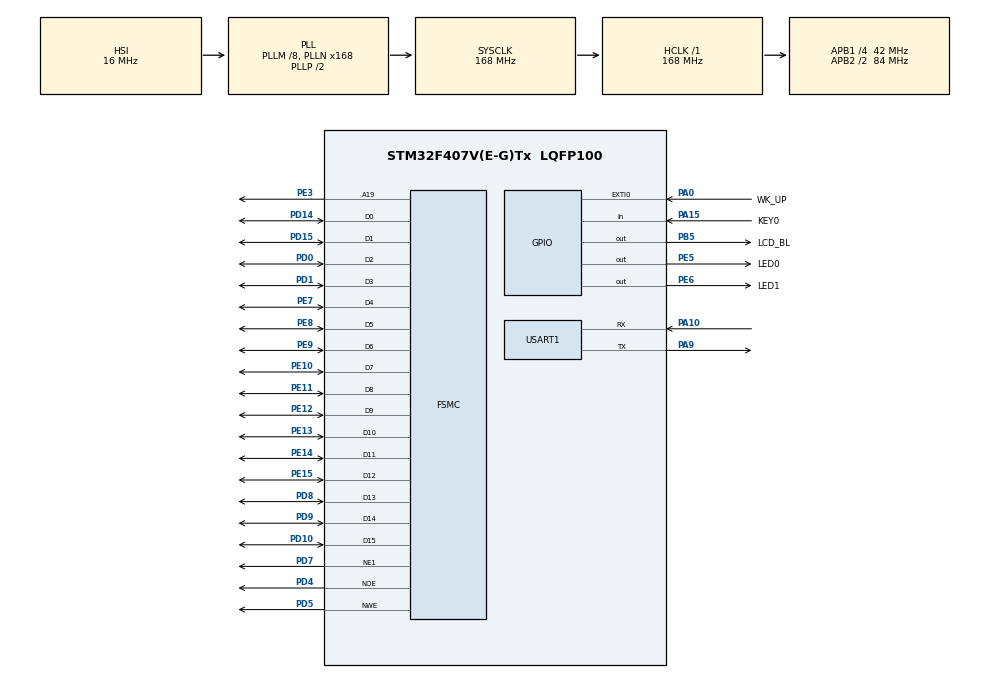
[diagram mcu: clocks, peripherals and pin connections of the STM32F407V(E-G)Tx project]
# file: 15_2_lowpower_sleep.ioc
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FSMC.AddressSetupTime1=15
FSMC.BusTurnAroundDuration1=0
FSMC.DataSetupTime1=60
FSMC.ExtendedAddressSetupTime1=9
FSMC.ExtendedDataSetupTime1=9
FSMC.ExtendedMode1=FSMC_EXTENDED_MODE_ENABLE
Mcu.Family=STM32F4
Mcu.Name=STM32F407V(E-G)Tx
Mcu.Package=LQFP100
NVIC.EXTI0_IRQn=true\:2\:2\:true\:false\:true\:true\:true\:true
NVIC.PriorityGroup=NVIC_PRIORITYGROUP_2
NVIC.USART1_IRQn=true\:2\:2\:true\:false\:true\:true\:true\:true
PA0-WKUP.GPIO_Label=WK_UP
PA0-WKUP.GPIO_PuPd=GPIO_PULLDOWN
PA0-WKUP.Signal=GPXTI0
PA10.Mode=Asynchronous
PA10.Signal=USART1_RX
PA13.Mode=Serial_Wire
PA13.Signal=SYS_JTMS-SWDIO
PA14.Mode=Serial_Wire
PA14.Signal=SYS_JTCK-SWCLK
PA15.GPIO_Label=KEY0
PA15.GPIO_PuPd=GPIO_PULLDOWN
PA15.Signal=GPIO_Input
PA9.Mode=Asynchronous
PA9.Signal=USART1_TX
PB5.GPIO_Label=LCD_BL
PB5.GPIO_PuPd=GPIO_PULLUP
PB5.GPIO_Speed=GPIO_SPEED_FREQ_HIGH
PB5.PinState=GPIO_PIN_SET
PB5.Signal=GPIO_Output
PC14-OSC32_IN.Mode=LSE-External-Oscillator
PC14-OSC32_IN.Signal=RCC_OSC32_IN
PC15-OSC32_OUT.Mode=LSE-External-Oscillator
PC15-OSC32_OUT.Signal=RCC_OSC32_OUT
PD0.Mode=16b-d1
PD0.Signal=FSMC_D2
PD1.Mode=16b-d1
PD1.Signal=FSMC_D3
PD10.Mode=16b-d1
PD10.Signal=FSMC_D15
PD14.Mode=16b-d1
PD14.Signal=FSMC_D0
PD15.Mode=16b-d1
PD15.Signal=FSMC_D1
PD4.Mode=Lcd1
PD4.Signal=FSMC_NOE
PD5.Mode=Lcd1
PD5.Signal=FSMC_NWE
PD7.Mode=NorPsramChipSelect1_1
PD7.Signal=FSMC_NE1
PD8.Mode=16b-d1
PD8.Signal=FSMC_D13
PD9.Mode=16b-d1
PD9.Signal=FSMC_D14
PE10.Mode=16b-d1
PE10.Signal=FSMC_D7
PE11.Mode=16b-d1
PE11.Signal=FSMC_D8
PE12.Mode=16b-d1
PE12.Signal=FSMC_D9
PE13.Mode=16b-d1
PE13.Signal=FSMC_D10
PE14.Mode=16b-d1
PE14.Signal=FSMC_D11
PE15.Mode=16b-d1
PE15.Signal=FSMC_D12
PE3.Mode=A19_1
PE3.Signal=FSMC_A19
PE5.GPIO_Label=LED0
PE5.GPIO_PuPd=GPIO_PULLUP
PE5.GPIO_Speed=GPIO_SPEED_FREQ_HIGH
PE5.PinState=GPIO_PIN_SET
PE5.Signal=GPIO_Output
PE6.GPIO_Label=LED1
PE6.GPIO_PuPd=GPIO_PULLUP
PE6.GPIO_Speed=GPIO_SPEED_FREQ_HIGH
PE6.PinState=GPIO_PIN_SET
PE6.Signal=GPIO_Output
PE7.Mode=16b-d1
PE7.Signal=FSMC_D4
PE8.Mode=16b-d1
PE8.Signal=FSMC_D5
PE9.Mode=16b-d1
PE9.Signal=FSMC_D6
PH0-OSC_IN.Mode=HSE-External-Oscillator
PH0-OSC_IN.Signal=RCC_OSC_IN
PH1-OSC_OUT.Mode=HSE-External-Oscillator
PH1-OSC_OUT.Signal=RCC_OSC_OUT
ProjectManager.HeapSize=0x200
ProjectManager.StackSize=0x400
ProjectManager.TargetToolchain=STM32CubeIDE
RCC.48MHZClocksFreq_Value=84000000
RCC.AHBFreq_Value=168000000
RCC.APB1CLKDivider=RCC_HCLK_DIV4
RCC.APB1Freq_Value=42000000
RCC.APB1TimFreq_Value=84000000
RCC.APB2CLKDivider=RCC_HCLK_DIV2
RCC.APB2Freq_Value=84000000
RCC.APB2TimFreq_Value=168000000
RCC.CortexFreq_Value=168000000
RCC.HCLKFreq_Value=168000000
RCC.HSE_VALUE=25000000
RCC.HSI_VALUE=16000000
RCC.PLLM=8
RCC.PLLN=168
RCC.SYSCLKFreq_VALUE=168000000
RCC.SYSCLKSource=RCC_SYSCLKSOURCE_PLLCLK
RCC.VCOOutputFreq_Value=336000000
USART1.VirtualMode=VM_ASYNC
board=custom

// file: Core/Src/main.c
/**
 ****************************************************************************************************
 * @file        main.c
 * @author      ALIENTEK
 * @brief       lowpower_sleep code
 * @license     Copyright (C) 2012-2024, ALIENTEK
 ****************************************************************************************************
 * @attention
 *
 * platform     : ALIENTEK M100-STM32F407 board
 * website      : www.alientek.com
 * forum        : www.openedv.com/forum.php
 *
 * change logs  :
 * version      data         notes
 * V1.0         20240409     the first version
 *
 ****************************************************************************************************
 */

/* USER CODE BEGIN Header */

/* USER CODE END Header */
#include "main.h"
#include "usart.h"
#include "gpio.h"
#include "fsmc.h"

/* USER CODE BEGIN Includes */
#include "../../BSP/LED/led.h"
#include "../../BSP/KEY/key.h"
#include "../../BSP/LCD/lcd.h"
#include "../../BSP/PWR/pwr.h"
/* USER CODE END Includes */

/* USER CODE BEGIN PD */
/**
 * @brief   Displays information about the experiment
 * @param   None
 * @retval  None
 */
void stm32f407vg_show_mesg(void)
{
	/* The serial port outputs the experimental information */
	printf("\n");
	printf("********************************\r\n");
	printf("STM32F407\r\n");
	printf("Lowpower-Sleep Test\r\n");
	printf("ATOM@ALIENTEK\r\n");
	printf("********************************\r\n");
	printf("\r\n");
}
/* USER CODE END PD */

void SystemClock_Config(void);

int main(void)
{
  /* USER CODE BEGIN 1 */
  uint8_t t = 0;
  uint8_t key = 0;
  /* USER CODE END 1 */

  /* MCU Configuration--------------------------------------------------------*/

  /* Reset of all peripherals, Initializes the Flash interface and the Systick. */
  HAL_Init();

  /* Configure the system clock */
  SystemClock_Config();

  /* Initialize all configured peripherals */
  MX_GPIO_Init();
  MX_USART1_UART_Init();
  MX_FSMC_Init();
  /* USER CODE BEGIN 2 */
  lcd_init();                                         /* Initialize LCD */
  stm32f407vg_show_mesg();
  lcd_show_string(30, 50, 200, 16, 16, "STM32", RED);
  lcd_show_string(30, 70, 200, 16, 16, "Sleep mode TEST", RED);
  lcd_show_string(30, 90, 200, 16, 16, "ATOM@ALIENTEK", RED);

  lcd_show_string(30, 110, 200, 16, 16, "KEY0:Enter SLEEP MODE", RED);
  lcd_show_string(30, 130, 200, 16, 16, "WK_UP:Exit SLEEP MODE", RED);
  /* USER CODE END 2 */

  /* Infinite loop */
  /* USER CODE BEGIN WHILE */
  while (1)
  {
	  key = key_scan(0);

	  if (key == KEY0_PRES)
	  {
	  	  lcd_show_string(30, 150, 200, 16, 16, "Enter Sleep Mode...", BLUE);
	  	  /* Press the KEY0 button to turn on LED1 and enter the sleep mode */
	  	  LED1(0);
	  	  pwr_enter_sleep();    /* Enter sleep mode */
	  	  lcd_show_string(30, 150, 200, 16, 16, "Exit  Sleep Mode...", BLUE);
	  	  LED1(1);
	  }
	  if ((t % 20) == 0)
	  {
	  	  LED0_TOGGLE();   /* flashing LED0 indicates that the system is running */
	  }

	  t++;
	  HAL_Delay(10);   	   /* delay 10ms */
    /* USER CODE END WHILE */

  }
}

void SystemClock_Config(void)
{
  RCC_OscInitTypeDef RCC_OscInitStruct = {0};
  RCC_ClkInitTypeDef RCC_ClkInitStruct = {0};

  /** Configure the main internal regulator output voltage
  */
  __HAL_RCC_PWR_CLK_ENABLE();
  __HAL_PWR_VOLTAGESCALING_CONFIG(PWR_REGULATOR_VOLTAGE_SCALE1);

  /** Initializes the RCC Oscillators according to the specified parameters
  * in the RCC_OscInitTypeDef structure.
  */
  RCC_OscInitStruct.OscillatorType = RCC_OSCILLATORTYPE_HSI;
  RCC_OscInitStruct.HSIState = RCC_HSI_ON;
  RCC_OscInitStruct.HSICalibrationValue = RCC_HSICALIBRATION_DEFAULT;
  RCC_OscInitStruct.PLL.PLLState = RCC_PLL_ON;
  RCC_OscInitStruct.PLL.PLLSource = RCC_PLLSOURCE_HSI;
  RCC_OscInitStruct.PLL.PLLM = 8;
  RCC_OscInitStruct.PLL.PLLN = 168;
  RCC_OscInitStruct.PLL.PLLP = RCC_PLLP_DIV2;
  RCC_OscInitStruct.PLL.PLLQ = 4;
  if (HAL_RCC_OscConfig(&RCC_OscInitStruct) != HAL_OK)
  {
    Error_Handler();
  }

  /** Initializes the CPU, AHB and APB buses clocks
  */
  RCC_ClkInitStruct.ClockType = RCC_CLOCKTYPE_HCLK|RCC_CLOCKTYPE_SYSCLK
                              |RCC_CLOCKTYPE_PCLK1|RCC_CLOCKTYPE_PCLK2;
  RCC_ClkInitStruct.SYSCLKSource = RCC_SYSCLKSOURCE_PLLCLK;
  RCC_ClkInitStruct.AHBCLKDivider = RCC_SYSCLK_DIV1;
  RCC_ClkInitStruct.APB1CLKDivider = RCC_HCLK_DIV4;
  RCC_ClkInitStruct.APB2CLKDivider = RCC_HCLK_DIV2;

  if (HAL_RCC_ClockConfig(&RCC_ClkInitStruct, FLASH_LATENCY_5) != HAL_OK)
  {
    Error_Handler();
  }
}

void Error_Handler(void)
{
  __disable_irq();
  while (1)
  {
  }
}
